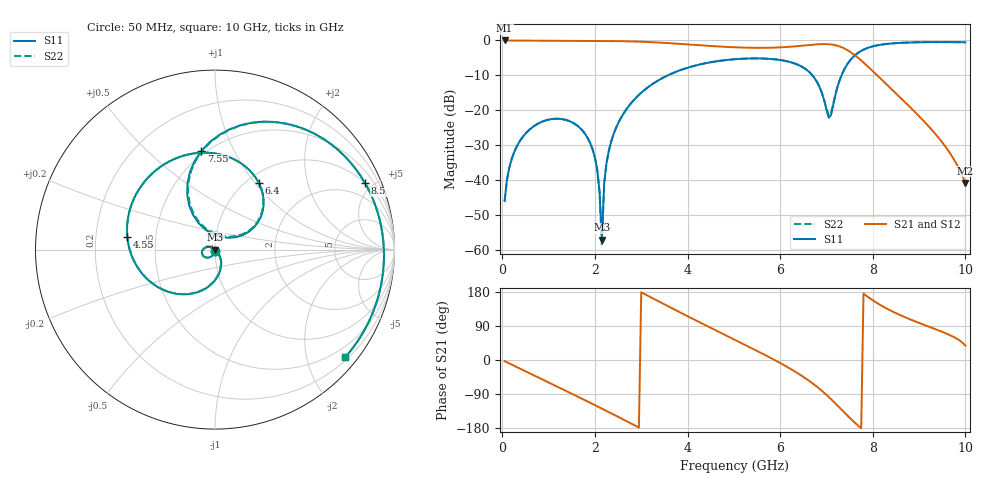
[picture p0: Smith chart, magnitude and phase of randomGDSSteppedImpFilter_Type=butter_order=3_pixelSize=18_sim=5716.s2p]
! freq	dB(S11)	phase(S11)	dB(S12)	phase(S12)
!  dB(S21)	phase(S21)	dB(S22)	phase(S22)
!S-par simulation data
#  GHz  S  DB  R 50
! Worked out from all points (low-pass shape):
!   200 points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, 50 MHz to 10 GHz, reference 50 ohm
!   highest |S21| = -0.01 dB at 50 MHz (marker M1); lowest = -40.7 dB at 10 GHz (marker M2)
!   |S21| within 3 dB of the highest: start of sweep to 7.481 GHz
!   lowest |S11| = -57.0 dB at 2.15 GHz (marker M3), VSWR 1.00, Z = 50.1 + j0.0373 ohm
!   |S11| at or under -10 dB: start of sweep to 3.573 GHz; 6.696 GHz to 7.326 GHz (630.2 MHz wide, 8.99 % of centre)
!   |S22| runs from -58.9 to -0.5 dB; largest |S21 - S12| = 0
!   S11 on the Smith chart (normalised r, x): 50 MHz: 1.00, -0.01; 4.55 GHz: 0.34, +0.06; 6.4 GHz: 1.14, +1.05; 7.55 GHz: 0.47, +0.75; 8.5 GHz: 1.00, +4.52; 10 GHz: 0.26, -2.76
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0.05  -45.94 -92.2  -0.01 -3.1  -0.01 -3.1  -45.94 -92.2
0.2  -34.04 -102.3  -0.04 -12.0  -0.04 -12.0  -34.04 -102.2
0.6  -25.37 -126.3  -0.06 -35.6  -0.06 -35.6  -25.37 -126.1
1.2  -22.40 -162.1  -0.11 -71.1  -0.11 -71.1  -22.40 -161.6
1.75  -26.07 164.3  -0.13 -103.9  -0.13 -103.9  -26.08 165.7
2.05  -36.94 143.0  -0.14 -122.1  -0.14 -122.1  -36.97 149.3
2.1  -43.18 135.3  -0.15 -125.2  -0.15 -125.2  -43.28 149.0
2.15  -57.00 15.3  -0.15 -128.2  -0.15 -128.2  -58.85 -79.7
2.2  -40.87 -35.5  -0.16 -131.3  -0.16 -131.3  -40.88 -46.6
2.4  -26.93 -53.2  -0.18 -143.7  -0.18 -143.7  -26.93 -55.7
3.4  -11.19 -117.3  -0.62 153.2  -0.62 153.2  -11.19 -117.8
4.55  -6.13 171.7  -1.64 82.0  -1.64 82.0  -6.13 171.5
5.05  -5.35 141.7  -1.98 51.7  -1.98 51.7  -5.35 141.5
5.8  -5.30 95.9  -2.09 5.3  -2.09 5.3  -5.30 96.0
6.4  -7.06 56.3  -1.62 -36.5  -1.62 -36.5  -7.06 56.7
6.7  -10.06 35.6  -1.23 -61.6  -1.23 -61.6  -10.04 36.3
7.05  -22.12 64.3  -1.09 -97.7  -1.09 -97.7  -21.51 65.5
7.55  -5.10 97.8  -3.62 -158.4  -3.62 -158.4  -5.08 97.1
7.9  -2.10 65.0  -7.53 165.9  -7.53 165.9  -2.09 64.6
8.35  -0.94 32.7  -13.23 132.6  -13.23 132.6  -0.93 32.5
8.5  -0.78 23.8  -15.15 123.6  -15.15 123.6  -0.77 23.6
10  -0.53 -39.6  -40.75 38.0  -40.75 38.0  -0.53 -39.6
